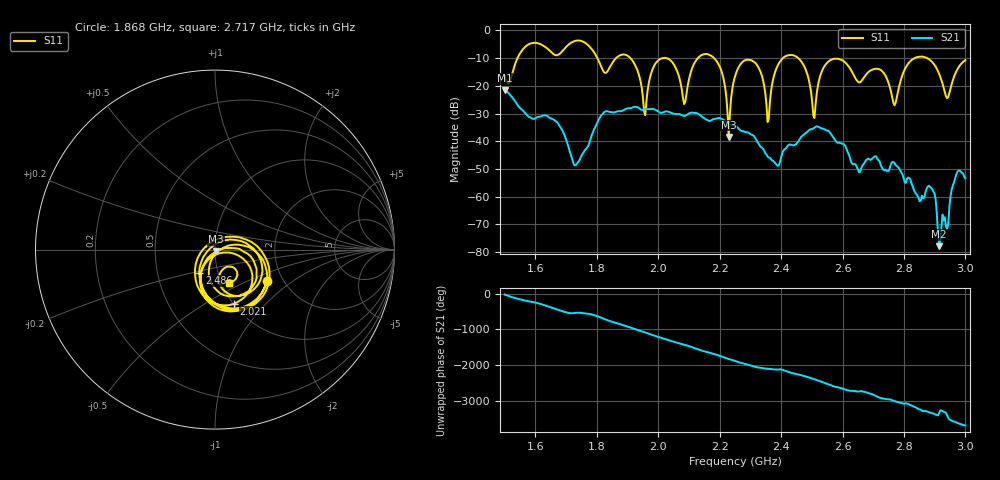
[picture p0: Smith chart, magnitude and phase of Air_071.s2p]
# HZ S RI R 50
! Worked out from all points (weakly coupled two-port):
!   404 points, 1.5 GHz to 3 GHz, reference 50 ohm
!   highest |S21| = -21.65 dB at 1.5 GHz (marker M1); lowest = -77.9 dB at 2.914 GHz (marker M2)
!   lowest |S11| = -38.4 dB at 2.23 GHz (marker M3), VSWR 1.02, Z = 50.6 - j1.07 ohm
!   |S11| at or under -10 dB: 2.182 GHz to 2.406 GHz (223.9 MHz wide, 9.76 % of centre); 2.456 GHz to 2.835 GHz (378.5 MHz wide, 14.3 % of centre); 2.875 GHz to end of sweep (the widest 3 of 7)
!   S12 and S22 are empty: the file has one direction only
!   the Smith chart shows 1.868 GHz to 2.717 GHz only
!   S11 on the Smith chart (normalised r, x): 1.868 GHz: 1.65, -0.65; 2.021 GHz: 1.01, -0.68; 2.486 GHz: 0.81, -0.22; 2.717 GHz: 1.09, -0.42
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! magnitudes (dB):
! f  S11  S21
! 1.5 GHz  -16.3  -21.6
! 1.753 GHz  -3.9  -44.6
! 1.868 GHz  -9.4  -29.2
! 1.958 GHz  -30.6  -28.4
! 2.002 GHz  -10.6  -29.5
! 2.021 GHz  -9.9  -29.4
! 2.084 GHz  -26.6  -30.8
! 2.177 GHz  -9.5  -32.1
! 2.23 GHz  -38.4  -33.7
! 2.252 GHz  -16.0  -34.6
! 2.315 GHz  -11.6  -38.7
! 2.356 GHz  -33.1  -45.5
! 2.386 GHz  -13.5  -48.6
! 2.486 GHz  -16.1  -36.5
! 2.501 GHz  -25.8  -35.5
! 2.565 GHz  -10.5  -37.7
! 2.717 GHz  -13.9  -46.9
! 2.751 GHz  -19.2  -50.7
! 2.888 GHz  -11.0  -56.8
! 2.914 GHz  -15.6  -77.9
! 2.94 GHz  -24.5  -71.7
! 3 GHz  -10.7  -53.4
